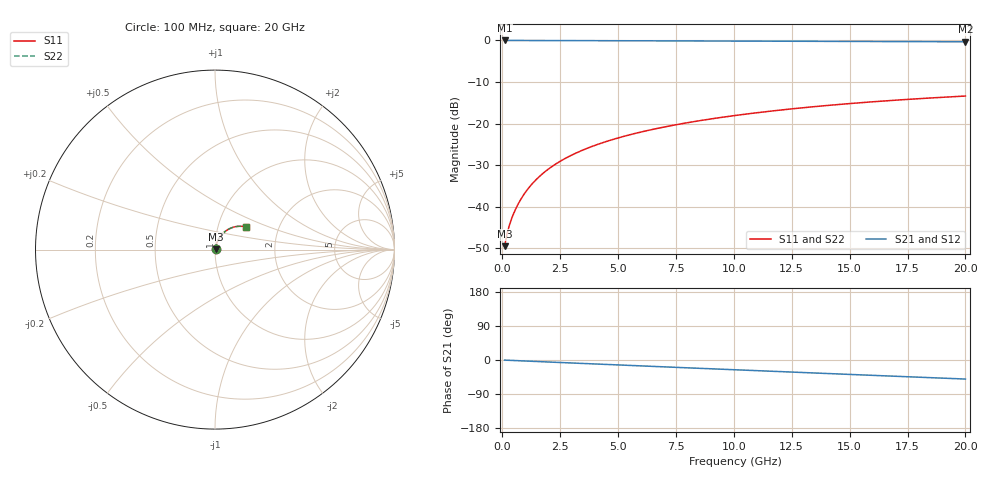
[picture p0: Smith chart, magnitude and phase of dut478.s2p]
! Touchstone file exported from HFSS 2026.1.0
!  File:  C:/ffzhzh/LocalFiles/Ansys_Project_Files/temp_train_TMRDL_478_1783006334_51716.aedt
!  Generated:  11:33:47 PM Jul  2, 2026
!  Design:  TMRDL
!  Project:  temp_train_TMRDL_478_1783006334_51716
! Variables:
!  h_bsmrdl = 2um
!  h_ox = 20um
!  h_rdl = 5um
!  h_sub = 80um
!  h_tmrdl = 4.66um
!  h_tsv = 80um
!  h_via = 3um
!  l_bsmrdl = 300um
!  l_sub = 1262.84um
!  l_tmrdl = 862.84um
!  m_sub = 200um
!  pitch = 37.99um
!  r_tsv = 6um
!  s_tmrdl = 10um
!  w_bsmrdl = 18um
!  w_sub = 500um
!  w_tmrdl = 26.25um
!  x_tsv_center1 = 875.965um
!  x_tsv_center2 = 1193.965um
!  x_tsv_center3 = 2083.055um
!  x_tsv_center4 = 2401.055um
!  x_tsv_center5 = 3290.145um
!  x_tsv_center6 = 3608.145um
# GHz S MA R 50.000000
! Terminal data exported
! Port[1] = TM_RDL1_1_T1
! Port[2] = TM_RDL1_1_T2
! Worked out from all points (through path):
!   200 points, 100 MHz to 20 GHz, reference 50 ohm
!   highest |S21| = -0.02 dB at 100 MHz (marker M1); lowest = -0.3 dB at 20 GHz (marker M2)
!   group delay of S21, straight-line fit = 6.96 ps
!   lowest |S11| = -49.5 dB at 100 MHz (marker M3), VSWR 1.01, Z = 50.3 + j0.187 ohm
!   |S11| at or under -10 dB: start of sweep to end of sweep
!   |S22| runs from -49.5 to -13.4 dB; largest |S21 - S12| = 2.8e-15
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0.1  0.003365 33.5  0.9972 -0.3  0.9972 -0.3  0.003365 33.5
! Gamma 0 0 0 0
! Port Impedance 50 0 50 0
0.2  0.004668 47.2  0.9969 -0.6  0.9969 -0.6  0.004669 47.2
0.3  0.005935 54.2  0.9966 -0.8  0.9966 -0.8  0.005935 54.2
0.4  0.007172 59.0  0.9964 -1.1  0.9964 -1.1  0.007172 59.0
0.5  0.008421 62.6  0.9963 -1.4  0.9963 -1.4  0.008421 62.6
0.6  0.009692 65.4  0.9962 -1.6  0.9962 -1.6  0.009692 65.4
0.8  0.0123 69.2  0.996 -2.1  0.996 -2.1  0.0123 69.2
1  0.01497 71.6  0.9959 -2.7  0.9959 -2.7  0.01497 71.6
1.2  0.01766 73.1  0.9957 -3.2  0.9957 -3.2  0.01766 73.1
1.4  0.02038 74.0  0.9955 -3.7  0.9955 -3.7  0.02038 74.0
1.7  0.02445 74.7  0.9952 -4.5  0.9952 -4.5  0.02445 74.7
2.2  0.03121 75.0  0.9945 -5.8  0.9945 -5.8  0.03121 74.9
2.8  0.03921 74.4  0.9936 -7.4  0.9936 -7.4  0.03921 74.4
3.5  0.04835 73.3  0.9925 -9.2  0.9925 -9.2  0.04835 73.2
4.2  0.05726 71.9  0.9913 -11.0  0.9913 -11.0  0.05726 71.9
5  0.0672 70.2  0.9898 -13.1  0.9898 -13.1  0.0672 70.2
6.8  0.08871 66.2  0.9865 -17.6  0.9865 -17.6  0.0887 66.2
8.3  0.1059 62.9  0.9837 -21.4  0.9837 -21.4  0.1058 62.8
10.1  0.1255 58.8  0.9803 -25.9  0.9803 -25.9  0.1255 58.7
13.4  0.159 51.2  0.9739 -34.1  0.9739 -34.1  0.159 51.2
16.7  0.1887 43.6  0.9675 -42.2  0.9675 -42.2  0.1887 43.5
20  0.2142 36.0  0.9613 -50.3  0.9613 -50.3  0.2141 35.9
